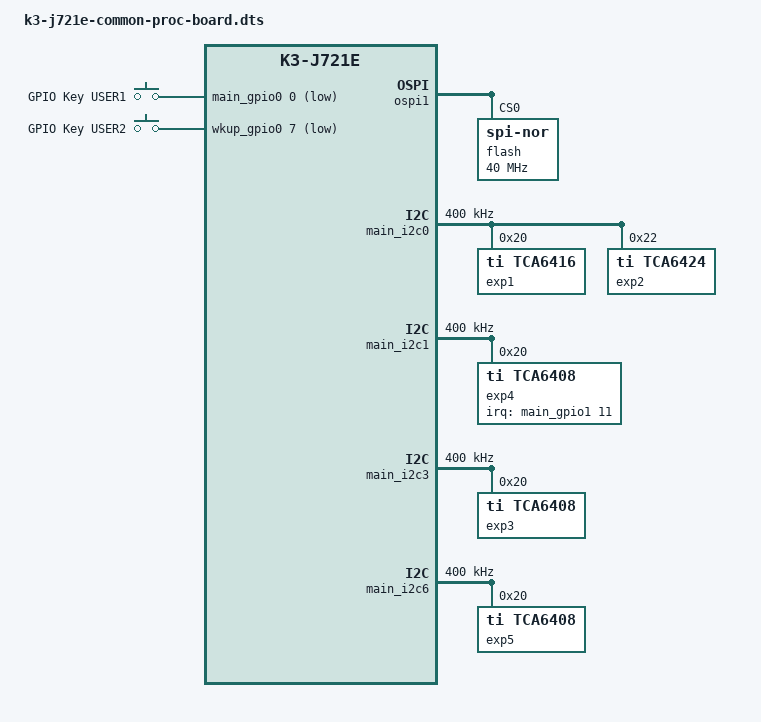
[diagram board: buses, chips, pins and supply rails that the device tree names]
// SPDX-License-Identifier: GPL-2.0
/*
 * Copyright (C) 2019 Texas Instruments Incorporated - http://www.ti.com/
 */

/dts-v1/;

#include "k3-j721e-som-p0.dtsi"
#include <dt-bindings/gpio/gpio.h>
#include <dt-bindings/input/input.h>

/ {
	chosen {
		stdout-path = "serial2:115200n8";
		bootargs = "console=ttyS2,115200n8 earlycon=ns16550a,mmio32,0x02800000";
	};

	gpio_keys: gpio-keys {
		compatible = "gpio-keys";
		autorepeat;
		pinctrl-names = "default";
		pinctrl-0 = <&sw10_button_pins_default &sw11_button_pins_default>;

		sw10: sw10 {
			label = "GPIO Key USER1";
			linux,code = <BTN_0>;
			gpios = <&main_gpio0 0 GPIO_ACTIVE_LOW>;
		};

		sw11: sw11 {
			label = "GPIO Key USER2";
			linux,code = <BTN_1>;
			gpios = <&wkup_gpio0 7 GPIO_ACTIVE_LOW>;
		};
	};
};

&main_pmx0 {
	sw10_button_pins_default: sw10_button_pins_default {
		pinctrl-single,pins = <
			J721E_IOPAD(0x0, PIN_INPUT, 7) /* (AC18) EXTINTn.GPIO0_0 */
		>;
	};

	main_i2c1_exp4_pins_default: main-i2c1-exp4-pins-default {
		pinctrl-single,pins = <
			J721E_IOPAD(0x230, PIN_INPUT, 7) /* (U2) ECAP0_IN_APWM_OUT.GPIO1_11 */
		>;
	};

	main_i2c0_pins_default: main-i2c0-pins-default {
		pinctrl-single,pins = <
			J721E_IOPAD(0x220, PIN_INPUT_PULLUP, 0) /* (AC5) I2C0_SCL */
			J721E_IOPAD(0x224, PIN_INPUT_PULLUP, 0) /* (AA5) I2C0_SDA */
		>;
	};

	main_i2c1_pins_default: main-i2c1-pins-default {
		pinctrl-single,pins = <
			J721E_IOPAD(0x228, PIN_INPUT_PULLUP, 0) /* (Y6) I2C1_SCL */
			J721E_IOPAD(0x22c, PIN_INPUT_PULLUP, 0) /* (AA6) I2C1_SDA */
		>;
	};

	main_i2c3_pins_default: main-i2c3-pins-default {
		pinctrl-single,pins = <
			J721E_IOPAD(0x270, PIN_INPUT_PULLUP, 4) /* (T26) MMC2_CLK.I2C3_SCL */
			J721E_IOPAD(0x274, PIN_INPUT_PULLUP, 4) /* (T25) MMC2_CMD.I2C3_SDA */
		>;
	};

	main_i2c6_pins_default: main-i2c6-pins-default {
		pinctrl-single,pins = <
			J721E_IOPAD(0x1d0, PIN_INPUT_PULLUP, 2) /* (AA3) SPI0_D1.I2C6_SCL */
			J721E_IOPAD(0x1e4, PIN_INPUT_PULLUP, 2) /* (Y2) SPI1_D1.I2C6_SDA */
		>;
	};

	main_i2c1_exp4_pins_default: main-i2c1-exp4-pins-default {
		pinctrl-single,pins = <
			J721E_IOPAD(0x230, PIN_INPUT, 7) /* (U2) ECAP0_IN_APWM_OUT.GPIO1_11 */
		 >;
	};
};

&wkup_pmx0 {
	sw11_button_pins_default: sw11_button_pins_default {
		pinctrl-single,pins = <
			J721E_WKUP_IOPAD(0xcc, PIN_INPUT, 7) /* (G28) WKUP_GPIO0_7 */
		>;
	};

	mcu_fss0_ospi1_pins_default: mcu-fss0-ospi1-pins-default {
		pinctrl-single,pins = <
			J721E_WKUP_IOPAD(0x34, PIN_OUTPUT, 0) /* (F22) MCU_OSPI1_CLK */
			J721E_WKUP_IOPAD(0x50, PIN_OUTPUT, 0) /* (C22) MCU_OSPI1_CSn0 */
			J721E_WKUP_IOPAD(0x40, PIN_INPUT, 0) /* (D22) MCU_OSPI1_D0 */
			J721E_WKUP_IOPAD(0x44, PIN_INPUT, 0) /* (G22) MCU_OSPI1_D1 */
			J721E_WKUP_IOPAD(0x48, PIN_INPUT, 0) /* (D23) MCU_OSPI1_D2 */
			J721E_WKUP_IOPAD(0x4c, PIN_INPUT, 0) /* (C23) MCU_OSPI1_D3 */
			J721E_WKUP_IOPAD(0x3c, PIN_INPUT, 0) /* (B23) MCU_OSPI1_DQS */
			J721E_WKUP_IOPAD(0x38, PIN_INPUT, 0) /* (A23) MCU_OSPI1_LBCLKO */
		>;
	};
};

&wkup_uart0 {
	/* Wakeup UART is used by System firmware */
	status = "disabled";
};

&main_uart0 {
	power-domains = <&k3_pds 146 TI_SCI_PD_SHARED>;
};

&main_uart3 {
	/* UART not brought out */
	status = "disabled";
};

&main_uart5 {
	/* UART not brought out */
	status = "disabled";
};

&main_uart6 {
	/* UART not brought out */
	status = "disabled";
};

&main_uart7 {
	/* UART not brought out */
	status = "disabled";
};

&main_uart8 {
	/* UART not brought out */
	status = "disabled";
};

&main_uart9 {
	/* UART not brought out */
	status = "disabled";
};

&main_gpio2 {
	status = "disabled";
};

&main_gpio3 {
	status = "disabled";
};

&main_gpio4 {
	status = "disabled";
};

&main_gpio5 {
	status = "disabled";
};

&main_gpio6 {
	status = "disabled";
};

&main_gpio7 {
	status = "disabled";
};

&wkup_gpio1 {
	status = "disabled";
};

&ospi1 {
	pinctrl-names = "default";
	pinctrl-0 = <&mcu_fss0_ospi1_pins_default>;

	flash@0{
		compatible = "jedec,spi-nor";
		reg = <0x0>;
		spi-tx-bus-width = <1>;
		spi-rx-bus-width = <4>;
		spi-max-frequency = <40000000>;
		cdns,tshsl-ns = <60>;
		cdns,tsd2d-ns = <60>;
		cdns,tchsh-ns = <60>;
		cdns,tslch-ns = <60>;
		cdns,read-delay = <2>;
		#address-cells = <1>;
		#size-cells = <1>;
	};
};

&tscadc0 {
	adc {
		ti,adc-channels = <0 1 2 3 4 5 6 7>;
	};
};

&tscadc1 {
	adc {
		ti,adc-channels = <0 1 2 3 4 5 6 7>;
	};
};

&main_i2c0 {
	pinctrl-names = "default";
	pinctrl-0 = <&main_i2c0_pins_default>;
	clock-frequency = <400000>;

	exp1: gpio@20 {
		compatible = "ti,tca6416";
		reg = <0x20>;
		gpio-controller;
		#gpio-cells = <2>;
	};

	exp2: gpio@22 {
		compatible = "ti,tca6424";
		reg = <0x22>;
		gpio-controller;
		#gpio-cells = <2>;
	};
};

&main_i2c1 {
	pinctrl-names = "default";
	pinctrl-0 = <&main_i2c1_pins_default>;
	clock-frequency = <400000>;

	exp4: gpio@20 {
		compatible = "ti,tca6408";
		reg = <0x20>;
		gpio-controller;
		#gpio-cells = <2>;
		pinctrl-names = "default";
		pinctrl-0 = <&main_i2c1_exp4_pins_default>;
		interrupt-parent = <&main_gpio1>;
		interrupts = <11 IRQ_TYPE_EDGE_FALLING>;
		interrupt-controller;
		#interrupt-cells = <2>;
	};
};

&main_i2c3 {
	pinctrl-names = "default";
	pinctrl-0 = <&main_i2c3_pins_default>;
	clock-frequency = <400000>;

	exp3: gpio@20 {
		compatible = "ti,tca6408";
		reg = <0x20>;
		gpio-controller;
		#gpio-cells = <2>;
	};
};

&main_i2c6 {
	pinctrl-names = "default";
	pinctrl-0 = <&main_i2c6_pins_default>;
	clock-frequency = <400000>;

	exp5: gpio@20 {
		compatible = "ti,tca6408";
		reg = <0x20>;
		gpio-controller;
		#gpio-cells = <2>;
	};
};
